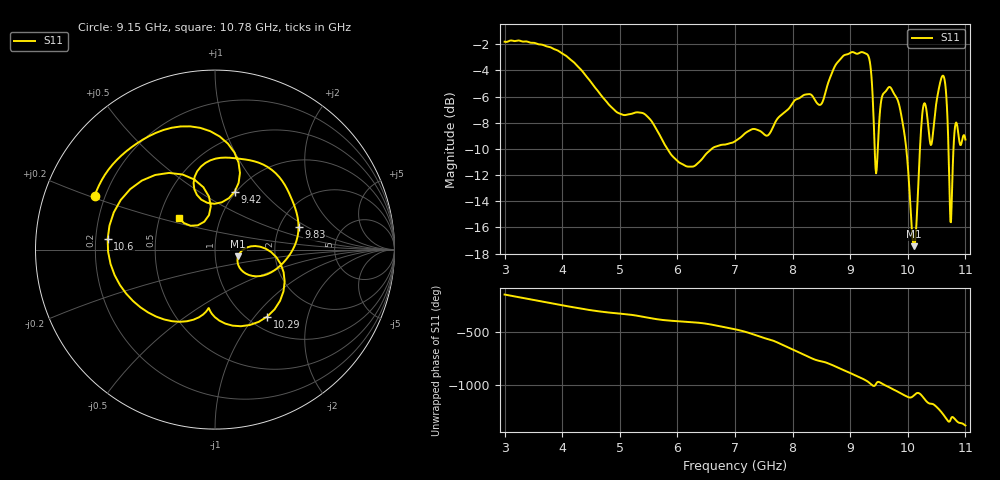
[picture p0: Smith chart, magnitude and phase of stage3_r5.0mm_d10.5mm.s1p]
# GHz S DB R 50
! openEMS Stage 3 Simulation: r5.0mm_d10.5mm
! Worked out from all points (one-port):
!   801 points, 3 GHz to 11 GHz, reference 50 ohm
!   lowest |S11| = -17.4 dB at 10.11 GHz (marker M1), VSWR 1.31, Z = 64.6 - j4.98 ohm
!   |S11| at or under -10 dB: 5.828 GHz to 6.593 GHz (765.9 MHz wide, 12.3 % of centre); 9.974 GHz to 10.21 GHz (237 MHz wide, 2.35 % of centre); 10.71 GHz to 10.79 GHz (86.75 MHz wide, 0.807 % of centre)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
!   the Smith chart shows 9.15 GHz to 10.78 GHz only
!   S11 on the Smith chart (normalised r, x): 9.15 GHz: 0.16, +0.21; 9.42 GHz: 0.98, +0.72; 9.83 GHz: 2.54, +0.84; 10.29 GHz: 1.21, -1.16; 10.6 GHz: 0.25, +0.05; 10.78 GHz: 0.63, +0.24
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3  -1.80 -152.5
3.47  -1.88 160.1
4  -2.70 107.0
4.47  -4.71 62.9
5  -7.30 28.8
6  -10.93 -42.5
7  -9.41 -118.0
7.62  -8.69 142.9
8  -6.49 54.3
8.26  -5.82 -12.3
8.69  -4.11 -93.8
9  -2.65 -168.3
9.15  -2.68 156.0
9.31  -2.85 109.6
9.42  -9.33 71.2
9.51  -7.52 105.7
9.63  -5.51 71.2
9.83  -6.33 15.3
10  -11.27 -33.0
10.11  -17.43 -16.4
10.2  -10.99 1.1
10.29  -6.50 -52.0
10.5  -6.34 -126.1
10.6  -4.42 174.3
10.67  -6.05 120.9
10.73  -14.19 99.9
10.78  -11.44 138.7
11  -9.29 60.3
